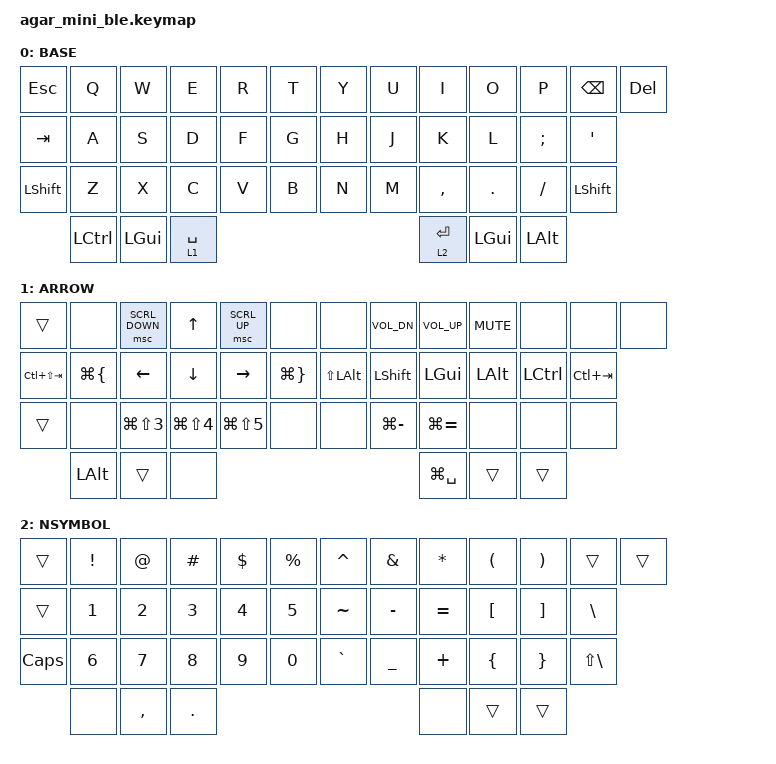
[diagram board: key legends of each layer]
/*
 * Copyright (c) 2021 The ZMK Contributors
 *
 * SPDX-License-Identifier: MIT
 */

#include "./boards/shields/klink_kbd/common.keymap"
#include <behaviors.dtsi>
#include <dt-bindings/zmk/keys.h>
#include <dt-bindings/zmk/pointing.h>

&mt {
    flavor = "tap-preferred"; // change hold to tap
    tapping-term-ms = <250>; // 連続タップ
    quick-tap-ms = <200>;
};

&lt {
    flavor = "tap-preferred";
    tapping-term-ms = <250>;
    quick-tap-ms = <200>;
    require-prior-idle-ms = <150>;
};

/ { 
    combos {
        compatible = "zmk,combos";

        bootloader {
            bindings = <&bootloader>;
            key-positions = <0 36>;
            layers = <1 2>;
        };

        BT_0 {
            bindings = <&bt BT_SEL 0>;
            key-positions = <13 36>;
            layers = <1 2>;
        };

        BT_1 {
            bindings = <&bt BT_SEL 1>;
            key-positions = <25 36>;
            layers = <1 2>;
        };
    };

    keymap {
        compatible = "zmk,keymap";

        default_layer {
            display-name = "BASE";
            bindings = <
&kp ESCAPE &kp Q      &kp W     &kp E  &kp R        &kp T  &kp Y      &kp U  &kp I      &kp O         &kp P          &kp BSPC     &kp DEL
&kp TAB    &kp A      &kp S     &kp D  &kp F        &kp G  &kp H      &kp J  &kp K      &kp L         &kp SEMI       &kp SQT
&kp LSHFT  &kp Z      &kp X     &kp C  &kp V        &kp B  &kp N      &kp M  &kp COMMA  &kp DOT       &kp SLASH      &kp LSHFT
           &kp LCTRL   &kp LGUI         &lt 1 SPACE         &lt 2 ENTER                 &kp LGUI      &kp LALT
            >;
        };

        layer1 {
            display-name = "ARROW";
            bindings = <
&trans           &none           &msc SCRL_DOWN  &kp UP          &msc SCRL_UP     &none     &none    &kp C_VOL_DN     &kp C_VOL_UP   &kp C_MUTE  &none      &none    &none
&kp LC(LS(TAB))  &kp LG(LBRC)    &kp LEFT        &kp DOWN        &kp RIGHT        &kp LG(RBRC)       &kp LS(LALT)     &kp LSHFT        &kp LGUI       &kp LALT    &kp LCTRL  &kp LC(TAB)
&trans           &none           &kp LG(LS(N3))  &kp LG(LS(N4))  &kp LG(LS(N5))   &none     &none    &kp LG(MINUS)    &kp LG(EQUAL)  &none       &none      &none
            &kp LALT        &trans          &none                 &kp LG(SPACE)            &trans         &trans
            >;
        };

        layer2 {
            display-name = "NSYMBOL";
            bindings = <
&trans        &kp EXCL         &kp AT          &kp HASH      &kp DLLR       &kp PRCNT    &kp CARET    &kp AMPS         &kp STAR    &kp LPAR    &kp RPAR    &trans    &trans
&trans        &kp N1           &kp N2          &kp N3        &kp N4         &kp N5       &kp TILDE    &kp MINUS        &kp EQUAL   &kp LBKT    &kp RBKT    &kp BACKSLASH
&kp CAPSLOCK  &kp N6           &kp N7          &kp N8        &kp N9         &kp N0       &kp GRAVE    &kp UNDERSCORE   &kp PLUS    &kp LBRC    &kp RBRC    &kp LS(BACKSLASH)
              &none            &kp COMMA       &kp DOT       &none                     &trans           &trans
            >;
        };

    };
};
